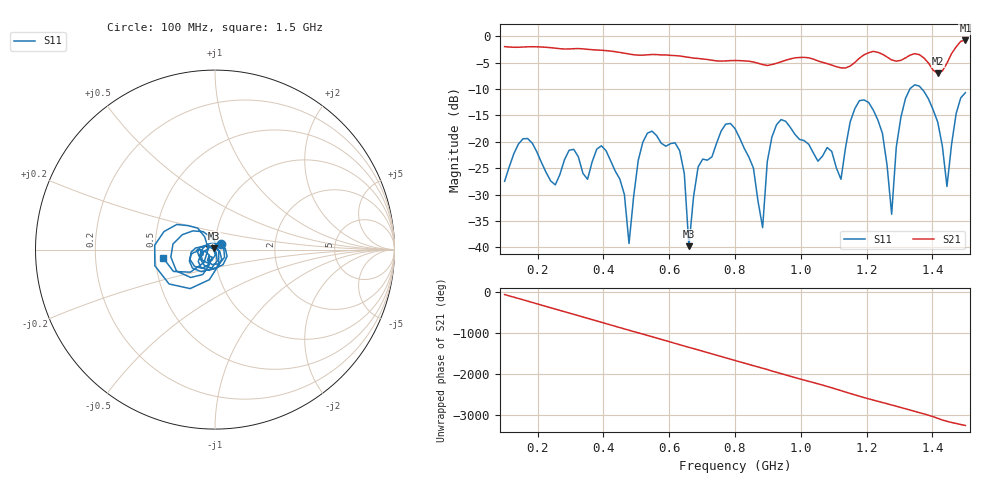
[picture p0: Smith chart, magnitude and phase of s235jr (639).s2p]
! NanoVNA-App
! Date: 2025-09-25 15:09:08
! Start: 100MHz Stop: 1,5GHz Points: 101
! S-Parameter data: F S11 S21 S12 S22
# Hz S RI R 50
!  Frequency  S11_Real  S11_Imag  S21_Real  S21_Imag  S12_Real  S12_Imag  S22_Real  S22_Imag
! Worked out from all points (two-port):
!   101 points, 100 MHz to 1.5 GHz, reference 50 ohm
!   highest |S21| = -0.80 dB at 1.5 GHz (marker M1); lowest = -7.0 dB at 1.416 GHz (marker M2)
!   |S21| within 3 dB of the highest: start of sweep to 638.2 MHz; 1.186 GHz to 1.258 GHz (72.55 MHz wide, 5.94 % of centre) (the widest 2 of 4)
!   lowest |S11| = -39.8 dB at 660 MHz (marker M3), VSWR 1.02, Z = 49.2 + j0.617 ohm
!   |S11| at or under -10 dB: start of sweep to 1.331 GHz; 1.368 GHz to end of sweep
!   S12 and S22 are empty: the file has one direction only
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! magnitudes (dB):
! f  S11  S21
! 100 MHz  -27.5  -2.0
! 156 MHz  -19.4  -2.0
! 338 MHz  -26.0  -2.4
! 408 MHz  -21.7  -2.7
! 478 MHz  -39.3  -3.4
! 520 MHz  -20.1  -3.6
! 576 MHz  -20.3  -3.5
! 632 MHz  -21.7  -3.7
! 660 MHz  -39.8  -4.0
! 688 MHz  -24.7  -4.2
! 800 MHz  -17.5  -4.6
! 884 MHz  -36.2  -5.4
! 926 MHz  -16.8  -5.1
! 1.038 GHz  -22.1  -4.3
! 1.122 GHz  -27.1  -6.0
! 1.206 GHz  -12.5  -3.1
! 1.248 GHz  -18.4  -3.4
! 1.276 GHz  -33.7  -4.5
! 1.332 GHz  -9.9  -3.6
! 1.416 GHz  -16.3  -7.0
! 1.444 GHz  -28.5  -5.1
! 1.5 GHz  -10.7  -0.8
